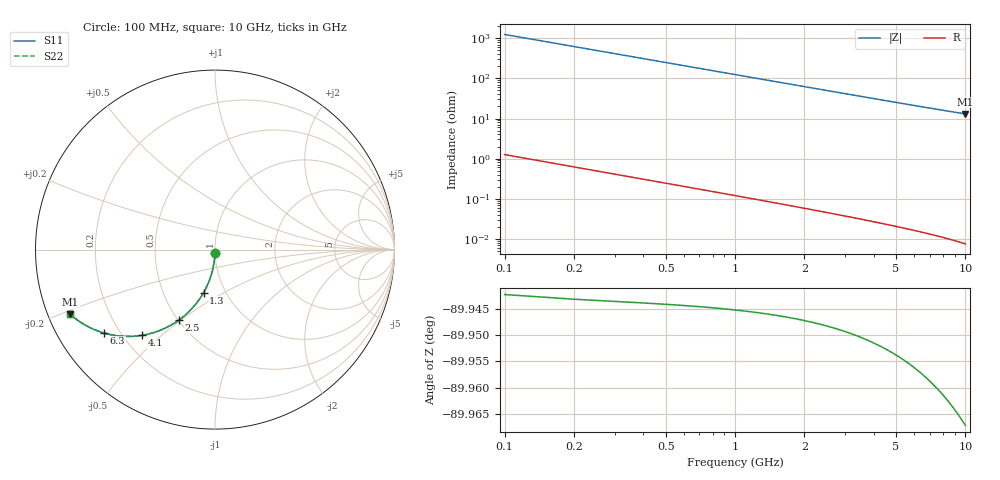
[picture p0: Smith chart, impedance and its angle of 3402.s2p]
# Hz S RI R 50.00
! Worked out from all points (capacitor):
!   100 points, 100 MHz to 10 GHz, reference 50 ohm
!   read as one part in shunt: C = 1.28 pF near 100 MHz
!   lowest |Z| = 13 ohm at 10 GHz (marker M1)
!   S11 on the Smith chart (normalised r, x): 100 MHz: 1.00, -0.04; 1.3 GHz: 0.79, -0.40; 2.5 GHz: 0.50, -0.49; 4.1 GHz: 0.28, -0.43; 6.3 GHz: 0.14, -0.33; 10 GHz: 0.06, -0.21
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1e8  -0.000191 -0.0197  0.9993 -0.0203  0.9993 -0.0203  -0.000191 -0.0197
2e8  -0.00141 -0.0394  0.9981 -0.0406  0.9981 -0.0406  -0.00141 -0.0394
3e8  -0.00342 -0.0589  0.9961 -0.0608  0.9961 -0.0608  -0.00342 -0.0589
4e8  -0.00622 -0.0783  0.9933 -0.0809  0.9933 -0.0809  -0.00622 -0.0783
5e8  -0.00979 -0.0975  0.9897 -0.1007  0.9897 -0.1007  -0.00979 -0.0975
6e8  -0.0141 -0.1165  0.9854 -0.1204  0.9854 -0.1204  -0.0141 -0.1165
8e8  -0.0249 -0.1536  0.9746 -0.1588  0.9746 -0.1588  -0.0249 -0.1536
1e9  -0.0385 -0.1894  0.961 -0.1957  0.961 -0.1957  -0.0385 -0.1894
1.3e9  -0.0635 -0.2397  0.936 -0.248  0.936 -0.248  -0.0635 -0.2397
1.5e9  -0.0828 -0.2708  0.9166 -0.2803  0.9166 -0.2803  -0.0828 -0.2708
1.8e9  -0.1152 -0.3133  0.8843 -0.3248  0.8843 -0.3248  -0.1152 -0.3133
2.1e9  -0.1506 -0.3507  0.8489 -0.3641  0.8489 -0.3641  -0.1506 -0.3507
2.5e9  -0.2009 -0.3924  0.7985 -0.4084  0.7985 -0.4084  -0.2009 -0.3924
2.9e9  -0.2529 -0.4251  0.7464 -0.4436  0.7464 -0.4436  -0.2529 -0.4251
3.4e9  -0.3178 -0.4544  0.6814 -0.4761  0.6814 -0.4761  -0.3178 -0.4544
4.1e9  -0.4043 -0.4772  0.5948 -0.5035  0.5948 -0.5035  -0.4043 -0.4772
5.1e9  -0.5131 -0.4829  0.4859 -0.5157  0.4859 -0.5157  -0.5131 -0.4829
6.3e9  -0.6177 -0.4649  0.3809 -0.5056  0.3809 -0.5056  -0.6177 -0.4649
6.7e9  -0.6468 -0.4555  0.3517 -0.4989  0.3517 -0.4989  -0.6468 -0.4555
7.5e9  -0.6973 -0.4341  0.301 -0.4828  0.301 -0.4828  -0.6973 -0.4341
8.4e9  -0.7438 -0.408  0.2541 -0.4627  0.2541 -0.4627  -0.7438 -0.408
1e10  -0.806 -0.3609  0.1913 -0.4266  0.1913 -0.4266  -0.806 -0.3609
